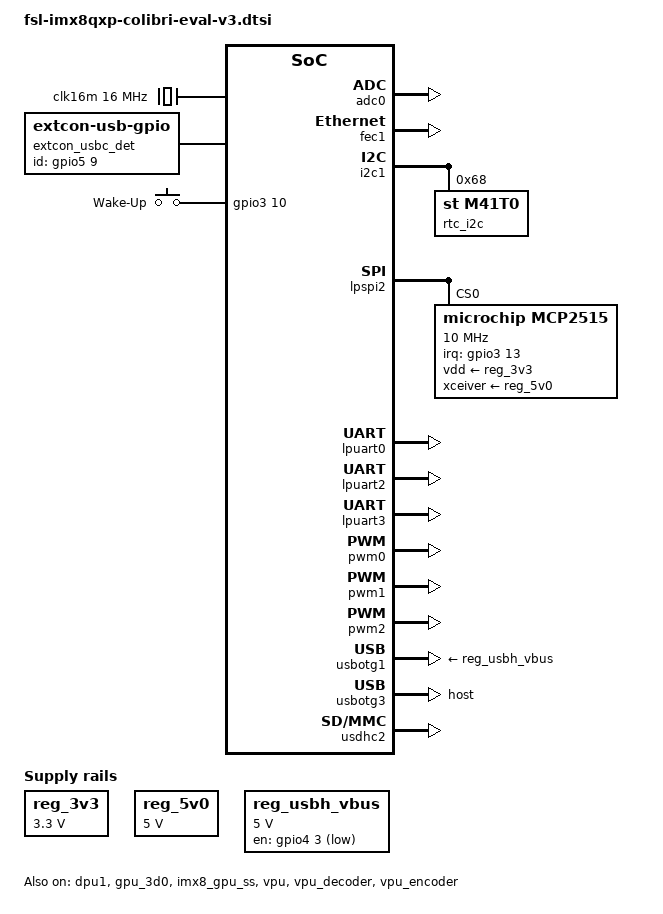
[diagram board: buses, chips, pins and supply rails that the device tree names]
// SPDX-License-Identifier: GPL-2.0+ OR X11
/*
 * Copyright 2018-2019 Toradex
 */

/ {
	aliases {
		rtc0 = &rtc_i2c;
		rtc1 = &rtc;
	};

	/* fixed crystal dedicated to mpc25xx */
	clk16m: clk16m {
		compatible = "fixed-clock";
		#clock-cells = <0>;
		clock-frequency = <16000000>;
	};

	display-subsystem {
		status = "okay";
	};

	extcon_usbc_det: usbc_det {
		compatible = "linux,extcon-usb-gpio";
		debounce = <25>;
		id-gpio = <&gpio5 9 GPIO_ACTIVE_HIGH>;
		pinctrl-names = "default";
		pinctrl-0 = <&pinctrl_usbc_det>;
	};

	gpio-keys {
		compatible = "gpio-keys";
		pinctrl-names = "default";
		pinctrl-0 = <&pinctrl_gpiokeys>;

		wakeup {
			label = "Wake-Up";
			gpios = <&gpio3 10 GPIO_ACTIVE_HIGH>;
			linux,code = <KEY_WAKEUP>;
			debounce-interval = <10>;
			wakeup-source;
		};
	};

	regulators {
		reg_3v3: regulator-3v3 {
			compatible = "regulator-fixed";
			regulator-name = "3.3V";
			regulator-min-microvolt = <3300000>;
			regulator-max-microvolt = <3300000>;
		};

		reg_5v0: regulator-5v0 {
			compatible = "regulator-fixed";
			regulator-name = "5V";
			regulator-min-microvolt = <5000000>;
			regulator-max-microvolt = <5000000>;
		};

		reg_usbh_vbus: regulator-usbh-vbus {
			compatible = "regulator-fixed";
			pinctrl-names = "default";
			pinctrl-0 = <&pinctrl_usbh1_reg>;
			regulator-name = "usbh_vbus";
			regulator-min-microvolt = <5000000>;
			regulator-max-microvolt = <5000000>;
			gpio = <&gpio4 3 GPIO_ACTIVE_LOW>;
			regulator-always-on;
		};
	};
};

/* Colibri Analogue Inputs */
&adc0 {
	status = "okay";
};

&dpu1 {
	status = "okay";
};

/* Colibri Ethernet */
&fec1 {
	status = "okay";
};

&gpu_3d0 {
	status = "okay";
};

&i2c1 {
	status = "okay";

	/* M41T0M6 real time clock on carrier board */
	rtc_i2c: rtc@68 {
		compatible = "st,m41t0";
		reg = <0x68>;
	};
};

&imx8_gpu_ss {
	status = "okay";
};

/* Colibri SPI */
&lpspi2 {
	status = "okay";

	mcp2515: can@0 {
		compatible = "microchip,mcp2515";
		pinctrl-names = "default";
		pinctrl-0 = <&pinctrl_can_int>;
		reg = <0>;
		clocks = <&clk16m>;
		interrupt-parent = <&gpio3>;
		interrupts = <13 IRQ_TYPE_EDGE_FALLING>;
		spi-max-frequency = <10000000>;
		vdd-supply = <&reg_3v3>;
		xceiver-supply = <&reg_5v0>;
		status = "okay";
	};

	spidev0: spidev@0 {
		compatible = "toradex,evalspi";
		reg = <0>;
		spi-max-frequency = <10000000>;
		status = "disabled";
	};
};

/* Colibri UART_B */
&lpuart0 {
	status = "okay";
};

/* Colibri UART_C */
&lpuart2 {
	status = "okay";
};

/* Colibri UART_A */
&lpuart3 {
	status= "okay";
};

/* Colibri PWM_A */
&pwm_adma_lcdif {
	status = "okay";
};

/* Colibri PWM_B */
&pwm0 {
	status = "okay";
};

/* Colibri PWM_C */
&pwm1 {
	status = "okay";
};

/* Colibri PWM_D */
&pwm2 {
	status = "okay";
};

&usbotg1 {
	extcon = <&extcon_usbc_det &extcon_usbc_det>;
	vbus-supply = <&reg_usbh_vbus>;
	srp-disable;
	hnp-disable;
	adp-disable;
	power-polarity-active-high;
	disable-over-current;
	status = "okay";
};

&usbotg3 {
	dr_mode = "host";
	status = "okay";
};

/* Colibri SDCard */
&usdhc2 {
	status = "okay";
};

&vpu {
	status = "okay";
};

&vpu_decoder {
	status = "okay";
};

&vpu_encoder {
	status = "okay";
};
